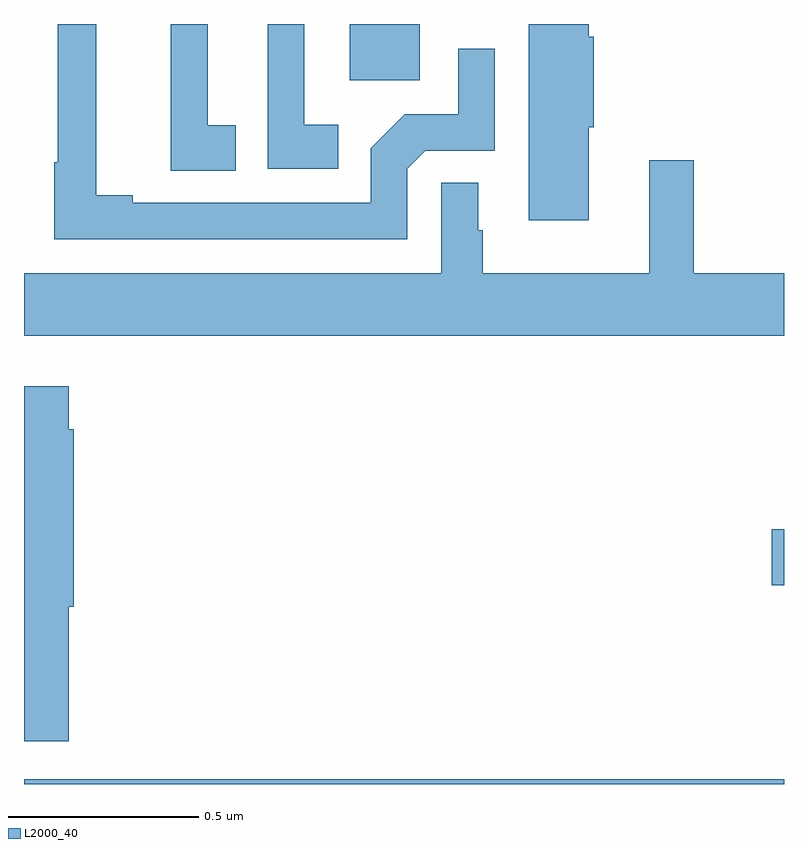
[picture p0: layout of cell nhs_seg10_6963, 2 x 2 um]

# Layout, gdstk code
import gdstk
lib = gdstk.Library(unit=1e-6, precision=1e-09)
def R(c, l, rs):  # rectangles x0, y0, x1, y1
    for r in rs: c.add(gdstk.rectangle(r[:2], r[2:], *l))
def P(c, l, *ps):  # polygons
    for p in ps: c.add(gdstk.Polygon(p, *l))
L2000_40 = (2000, 40)

nhs_seg10_6963 = lib.new_cell('nhs_seg10_6963')
R(nhs_seg10_6963, L2000_40, [(198,1268.5,200,1268.512), (199.968,1269.023,200,1269.17), (198.857,1270.352,199.042,1270.5)])
P(nhs_seg10_6963, L2000_40, [(199.486,1270.228),(199.499,1270.228),(199.499,1270.466),(199.486,1270.466),(199.486,1270.5),(199.328,1270.5),(199.328,1269.984),(199.486,1269.984)],
  [(198.827,1270.235),(198.738,1270.235),(198.738,1270.5),(198.641,1270.5),(198.641,1270.322),(198.642,1270.322),(198.642,1270.119),(198.827,1270.119)],
  [(199.008,1270.119),(199.056,1270.167),(199.239,1270.167),(199.239,1270.435),(199.143,1270.435),(199.143,1270.263),(199.002,1270.263),(198.912,1270.173),(198.912,1270.029),(198.286,1270.029),(198.286,1270.049),(198.19,1270.049),(198.19,1270.5),(198.089,1270.5),(198.089,1270.136),(198.079,1270.136),(198.079,1269.933),(199.008,1269.933)],
  [(198.557,1270.233),(198.484,1270.233),(198.484,1270.5),(198.386,1270.5),(198.386,1270.114),(198.557,1270.114)],
  [(200,1269.844),(199.763,1269.844),(199.763,1270.141),(199.646,1270.141),(199.646,1269.844),(199.207,1269.844),(199.207,1269.957),(199.195,1269.957),(199.195,1270.082),(199.098,1270.082),(199.098,1269.844),(198,1269.844),(198,1269.68),(200,1269.68)],
  [(198.118,1268.966),(198.131,1268.966),(198.131,1269.434),(198.118,1269.434),(198.118,1269.547),(198,1269.547),(198,1268.613),(198.118,1268.613)])

lib.write_gds('nhs_seg10_6963.gds')
